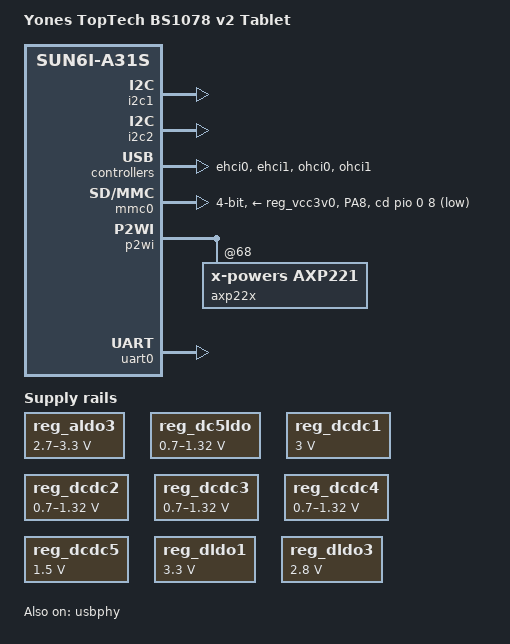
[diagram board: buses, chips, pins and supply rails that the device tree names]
/*
 * Copyright 2015 Lawrence Yu <lyu@micile.com>
 *
 * This file is dual-licensed: you can use it either under the terms
 * of the GPL or the X11 license, at your option. Note that this dual
 * licensing only applies to this file, and not this project as a
 * whole.
 *
 *  a) This file is free software; you can redistribute it and/or
 *     modify it under the terms of the GNU General Public License as
 *     published by the Free Software Foundation; either version 2 of the
 *     License, or (at your option) any later version.
 *
 *     This file is distributed in the hope that it will be useful,
 *     but WITHOUT ANY WARRANTY; without even the implied warranty of
 *     MERCHANTABILITY or FITNESS FOR A PARTICULAR PURPOSE.  See the
 *     GNU General Public License for more details.
 *
 * Or, alternatively,
 *
 *  b) Permission is hereby granted, free of charge, to any person
 *     obtaining a copy of this software and associated documentation
 *     files (the "Software"), to deal in the Software without
 *     restriction, including without limitation the rights to use,
 *     copy, modify, merge, publish, distribute, sublicense, and/or
 *     sell copies of the Software, and to permit persons to whom the
 *     Software is furnished to do so, subject to the following
 *     conditions:
 *
 *     The above copyright notice and this permission notice shall be
 *     included in all copies or substantial portions of the Software.
 *
 *     THE SOFTWARE IS PROVIDED "AS IS", WITHOUT WARRANTY OF ANY KIND,
 *     EXPRESS OR IMPLIED, INCLUDING BUT NOT LIMITED TO THE WARRANTIES
 *     OF MERCHANTABILITY, FITNESS FOR A PARTICULAR PURPOSE AND
 *     NONINFRINGEMENT. IN NO EVENT SHALL THE AUTHORS OR COPYRIGHT
 *     HOLDERS BE LIABLE FOR ANY CLAIM, DAMAGES OR OTHER LIABILITY,
 *     WHETHER IN AN ACTION OF CONTRACT, TORT OR OTHERWISE, ARISING
 *     FROM, OUT OF OR IN CONNECTION WITH THE SOFTWARE OR THE USE OR
 *     OTHER DEALINGS IN THE SOFTWARE.
 */

/dts-v1/;
#include "sun6i-a31s.dtsi"
#include "sunxi-common-regulators.dtsi"

#include <dt-bindings/gpio/gpio.h>

/ {
	model = "Yones TopTech BS1078 v2 Tablet";
	compatible = "yones-toptech,bs1078-v2", "allwinner,sun6i-a31s";

	aliases {
		serial0 = &uart0;
		i2c1 = &i2c1;
		i2c2 = &i2c2;
	};

	chosen {
		stdout-path = "serial0:115200n8";
	};
};

&i2c1 {
	pinctrl-names = "default";
	pinctrl-0 = <&i2c1_pins_a>;
	status = "okay";
};

&i2c2 {
	pinctrl-names = "default";
	pinctrl-0 = <&i2c2_pins_a>;
	status = "okay";
};

&ehci0 {
	status = "okay";
};

&ehci1 {
	status = "okay";
};

&ohci0 {
	status = "okay";
};

&ohci1 {
	status = "okay";
};

&pio {
	mmc0_cd_pin_bs1078v2: mmc0_cd_pin@0 {
		pins = "PA8";
		function = "gpio_in";
		bias-pull-up;
	};
};

&mmc0 {
	pinctrl-names = "default";
	pinctrl-0 = <&mmc0_pins_a>, <&mmc0_cd_pin_bs1078v2>;
	vmmc-supply = <&reg_vcc3v0>;
	bus-width = <4>;
	cd-gpios = <&pio 0 8 GPIO_ACTIVE_LOW>; /* PA8 */
	status = "okay";
};

&mmc0_pins_a {
	bias-pull-up;
};

&p2wi {
	status = "okay";

	axp22x: pmic@68 {
		compatible = "x-powers,axp221";
		reg = <0x68>;
		interrupt-parent = <&nmi_intc>;
		interrupts = <0 IRQ_TYPE_LEVEL_LOW>;
	};
};

#include "axp22x.dtsi"

&reg_aldo3 {
	regulator-always-on;
	regulator-min-microvolt = <2700000>;
	regulator-max-microvolt = <3300000>;
	regulator-name = "avcc";
};

&reg_dc1sw {
	regulator-name = "vcc-lcd-usb2";
};

&reg_dc5ldo {
	regulator-min-microvolt = <700000>;
	regulator-max-microvolt = <1320000>;
	regulator-name = "vdd-cpus";
};

&reg_dcdc1 {
	regulator-always-on;
	regulator-min-microvolt = <3000000>;
	regulator-max-microvolt = <3000000>;
	regulator-name = "vcc-3v0";
};

&reg_dcdc2 {
	regulator-min-microvolt = <700000>;
	regulator-max-microvolt = <1320000>;
	regulator-name = "vdd-gpu";
};

&reg_dcdc3 {
	regulator-always-on;
	regulator-min-microvolt = <700000>;
	regulator-max-microvolt = <1320000>;
	regulator-name = "vdd-cpu";
};

&reg_dcdc4 {
	regulator-always-on;
	regulator-min-microvolt = <700000>;
	regulator-max-microvolt = <1320000>;
	regulator-name = "vdd-sys-dll";
};

&reg_dcdc5 {
	regulator-always-on;
	regulator-min-microvolt = <1500000>;
	regulator-max-microvolt = <1500000>;
	regulator-name = "vcc-dram";
};

&reg_dldo1 {
	regulator-min-microvolt = <3300000>;
	regulator-max-microvolt = <3300000>;
	regulator-name = "vcc-wifi";
};

/* Voltage source for I2C pullup resistors for I2C Bus 0 */
&reg_dldo3 {
	regulator-min-microvolt = <2800000>;
	regulator-max-microvolt = <2800000>;
	regulator-name = "vddio-csi";
};

&uart0 {
	pinctrl-names = "default";
	pinctrl-0 = <&uart0_pins_a>;
	status = "okay";
};

&usbphy {
	usb1_vbus-supply = <&reg_dldo1>;
	usb2_vbus-supply = <&reg_dc1sw>;
	status = "okay";
};
